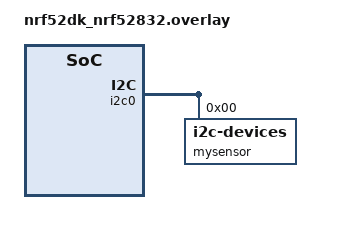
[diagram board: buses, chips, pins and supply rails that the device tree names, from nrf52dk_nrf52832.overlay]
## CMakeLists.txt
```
cmake_minimum_required(VERSION 3.20.0)
find_package(Zephyr REQUIRED HINTS $ENV{ZEPHYR_BASE})

project(i2c_scanner)

target_sources(app PRIVATE src/main.c)
```

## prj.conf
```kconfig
# Enable I2C support
CONFIG_I2C=y

# Enable Sensor subsystem support
CONFIG_SENSOR=y
```

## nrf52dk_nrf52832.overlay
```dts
&i2c0 {
    // compatible = "nordic,nrf-twim";
    // status = "okay";

    // clock-frequency = <I2C_BITRATE_STANDARD>;

    mysensor: mysensor@0 {
        status = "okay";
        compatible = "i2c-devices";
        reg = <0x00>;
        label = "mysensor";
    };
};
```

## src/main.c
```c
#include <zephyr/kernel.h>      // Zephyr kernel API
#include <zephyr/device.h>      // Zephyr device driver API
#include <zephyr/drivers/i2c.h> // I2C driver API
#include <zephyr/sys/printk.h>  // Printing utilities

// Define the I2C device using the label from the device tree
#define I2C0_NODE DT_NODELABEL(mysensor) // Update this to match your DTS file
static const struct i2c_dt_spec i2c_dev = I2C_DT_SPEC_GET(I2C0_NODE);

#define delayTime 1000

void main(void)
{
    // Check if the I2C device is ready
    if (!device_is_ready(i2c_dev.bus))
    {
        printk("I2C bus %s is not ready!\n", i2c_dev.bus->name);
        return; // Exit if the I2C bus is not ready
    }

    printk("Starting I2C scan...\n");

    while (1) // Infinite loop to continuously scan the I2C bus
    {
        bool deviceFound = false; // Flag to track if any device is found

        // Scan all possible I2C addresses (from 0x03 to 0x77)
        for (uint8_t addr = 0x03; addr <= 0x77; addr++)
        {
            uint8_t temp_data; // Buffer for temporary data
            struct i2c_msg msgs[1]; // Array to hold I2C message
            msgs[0].buf = &temp_data; // Set the buffer
            msgs[0].len = 1;          // Set the length of data to be transferred
            msgs[0].flags = I2C_MSG_WRITE | I2C_MSG_STOP; // Set message flags

            // Perform the I2C transfer
            int ret = i2c_transfer(i2c_dev.bus, &msgs[0], 1, addr);

            // If transfer was successful, an I2C device was found
            if (ret == 0)
            {
                printk("I2C device found at address 0x%02x\n\n", addr);
                deviceFound = true; // Set the flag to true
            }
        }

        // If no devices were found during the scan, print a message
        if (!deviceFound)
        {
            printk("No I2C devices found on the bus.\n");
        }
        else
        {
            printk("I2C scan complete.\n"); // If any device was found, print completion message
        }

        k_msleep(delayTime); // Delay for 1 second before the next scan
    }
}
```
